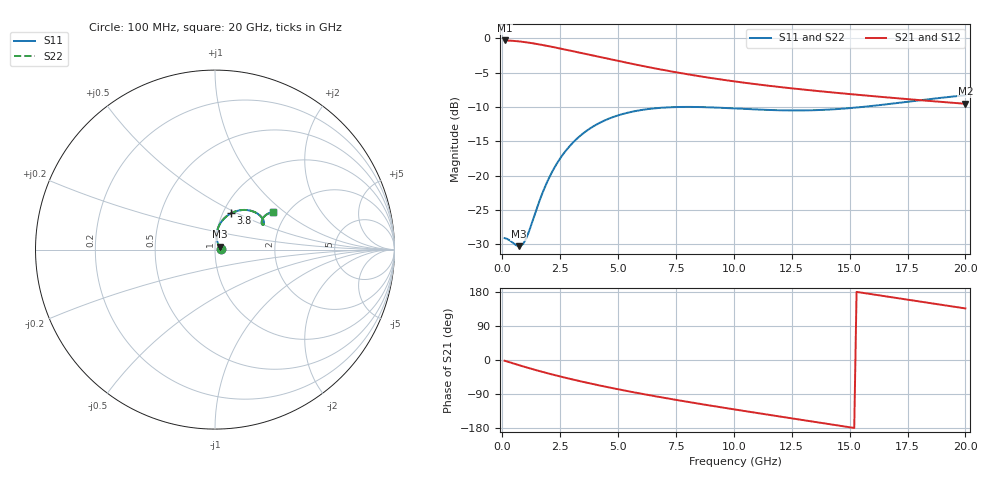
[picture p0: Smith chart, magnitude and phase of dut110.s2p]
! Created with skrf 1.9.0 (http://scikit-rf.org).
# GHz S RI R 50.0
!freq ReS11 ImS11 ReS21 ImS21 ReS12 ImS12 ReS22 ImS22
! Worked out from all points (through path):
!   200 points, 100 MHz to 20 GHz, reference 50 ohm
!   highest |S21| = -0.31 dB at 100 MHz (marker M1); lowest = -9.5 dB at 20 GHz (marker M2)
!   group delay of S21, straight-line fit = 29.3 ps
!   lowest |S11| = -30.3 dB at 700 MHz (marker M3), VSWR 1.06, Z = 52.7 + j1.67 ohm
!   |S11| at or under -10 dB: start of sweep to 7.786 GHz; 8.229 GHz to 15.56 GHz (7.329 GHz wide, 61.6 % of centre)
!   |S22| runs from -30.3 to -8.3 dB; largest |S21 - S12| = 2.3e-15
!   S11 on the Smith chart (normalised r, x): 100 MHz: 1.07, +0.00; 3.8 GHz: 1.09, +0.46; 20 GHz: 1.70, +0.83
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0.1  0.035 0.00217  0.964 -0.0328  0.964 -0.0328  0.035 0.00217
0.7  0.0262 0.0159  0.9249 -0.2185  0.9249 -0.2185  0.0262 0.0159
0.9  0.0214 0.0235  0.9009 -0.2747  0.9009 -0.2747  0.0214 0.0235
1  0.019 0.0281  0.8872 -0.3014  0.8872 -0.3014  0.019 0.0281
1.4  0.0112 0.0508  0.8237 -0.398  0.8237 -0.398  0.0112 0.0508
1.8  0.00863 0.079  0.7504 -0.4779  0.7504 -0.4779  0.00863 0.079
2.3  0.0156 0.1169  0.6517 -0.5552  0.6517 -0.5552  0.0156 0.1169
2.9  0.038 0.1587  0.5305 -0.6191  0.5305 -0.6191  0.038 0.1587
3.5  0.0709 0.1906  0.4124 -0.6567  0.4124 -0.6567  0.0709 0.1906
3.8  0.0894 0.2022  0.3557 -0.6672  0.3557 -0.6672  0.0894 0.2022
4.4  0.1271 0.2166  0.2488 -0.6745  0.2488 -0.6745  0.1271 0.2166
5.1  0.1684 0.2209  0.1362 -0.6646  0.1362 -0.6646  0.1684 0.2209
5.9  0.2076 0.2142  0.0246 -0.6359  0.0246 -0.6359  0.2076 0.2142
6.8  0.2397 0.1985  -0.0804 -0.589  -0.0804 -0.589  0.2397 0.1985
8.4  0.2684 0.1667  -0.2205 -0.4854  -0.2205 -0.4854  0.2684 0.1667
10.1  0.2725 0.1437  -0.3182 -0.364  -0.3182 -0.364  0.2725 0.1437
11.7  0.2661 0.1381  -0.3727 -0.2472  -0.3727 -0.2472  0.2661 0.1381
13.4  0.2603 0.1474  -0.3972 -0.1255  -0.3972 -0.1255  0.2603 0.1474
15  0.2625 0.1648  -0.392 -0.0172  -0.392 -0.0172  0.2625 0.1648
16.7  0.2755 0.1855  -0.36 0.0856  -0.36 0.0856  0.2755 0.1855
18.4  0.2979 0.2014  -0.3058 0.1707  -0.3058 0.1707  0.2979 0.2014
20  0.3234 0.2083  -0.2403 0.2311  -0.2403 0.2311  0.3234 0.2083
